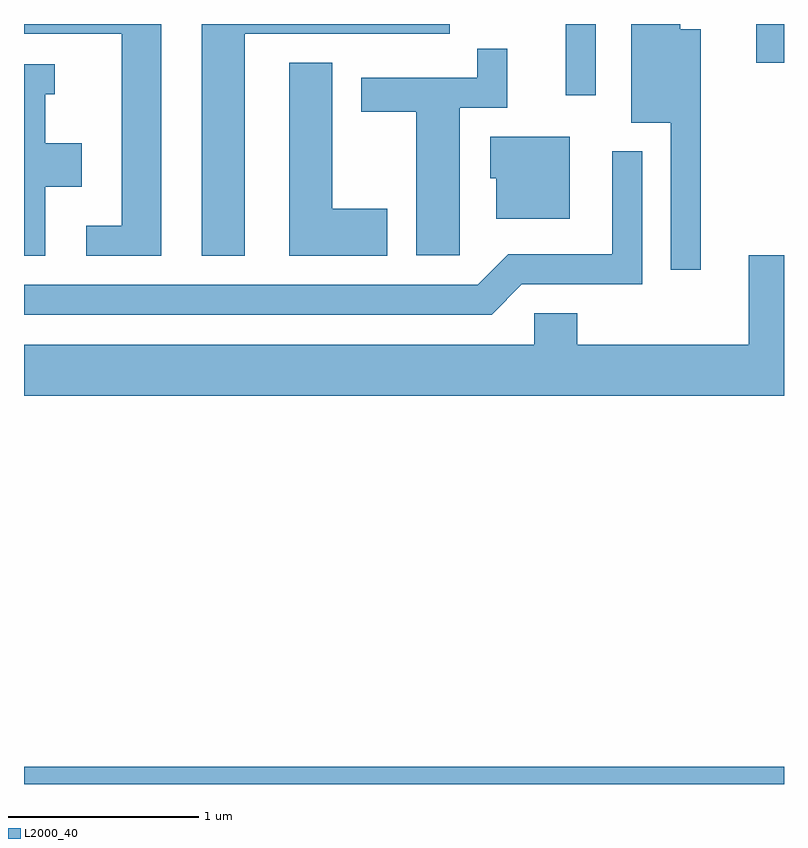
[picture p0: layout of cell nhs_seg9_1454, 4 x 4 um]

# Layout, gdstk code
import gdstk
lib = gdstk.Library(unit=1e-6, precision=1e-09)
def R(c, l, rs):  # rectangles x0, y0, x1, y1
    for r in rs: c.add(gdstk.rectangle(r[:2], r[2:], *l))
def P(c, l, *ps):  # polygons
    for p in ps: c.add(gdstk.Polygon(p, *l))
L2000_40 = (2000, 40)

nhs_seg9_1454 = lib.new_cell('nhs_seg9_1454')
R(nhs_seg9_1454, L2000_40, [(227.611,1996.432,231.611,1996.524), (230.461,2000.058,230.619,2000.432), (231.466,2000.228,231.611,2000.432)])
P(nhs_seg9_1454, L2000_40, [(228.334,2000.432),(227.611,2000.432),(227.611,2000.381),(228.126,2000.381),(228.126,1999.369),(227.938,1999.369),(227.938,1999.211),(228.334,1999.211)],
  [(228.774,2000.381),(229.853,2000.381),(229.853,2000.432),(228.546,2000.432),(228.546,1999.211),(228.774,1999.211)],
  [(231.174,2000.404),(231.064,2000.404),(231.064,2000.432),(230.806,2000.432),(230.806,1999.911),(231.016,1999.911),(231.016,1999.138),(231.174,1999.138)],
  [(229.904,1999.991),(230.154,1999.991),(230.154,2000.303),(229.996,2000.303),(229.996,2000.149),(229.386,2000.149),(229.386,1999.971),(229.676,1999.971),(229.676,1999.216),(229.904,1999.216)],
  [(229.524,1999.459),(229.234,1999.459),(229.234,2000.229),(229.006,2000.229),(229.006,1999.211),(229.524,1999.211)],
  [(227.724,1999.576),(227.914,1999.576),(227.914,1999.804),(227.724,1999.804),(227.724,2000.061),(227.773,2000.061),(227.773,2000.219),(227.611,2000.219),(227.611,1999.211),(227.724,1999.211)],
  [(230.484,1999.839),(230.066,1999.839),(230.066,1999.621),(230.096,1999.621),(230.096,1999.406),(230.484,1999.406)],
  [(230.232,1999.061),(230.864,1999.061),(230.864,1999.763),(230.706,1999.763),(230.706,1999.219),(230.159,1999.219),(229.999,1999.059),(227.611,1999.059),(227.611,1998.901),(230.072,1998.901)],
  [(231.611,1999.214),(231.426,1999.214),(231.426,1998.744),(230.524,1998.744),(230.524,1998.909),(230.296,1998.909),(230.296,1998.744),(227.611,1998.744),(227.611,1998.476),(231.611,1998.476)])

lib.write_gds('nhs_seg9_1454.gds')
